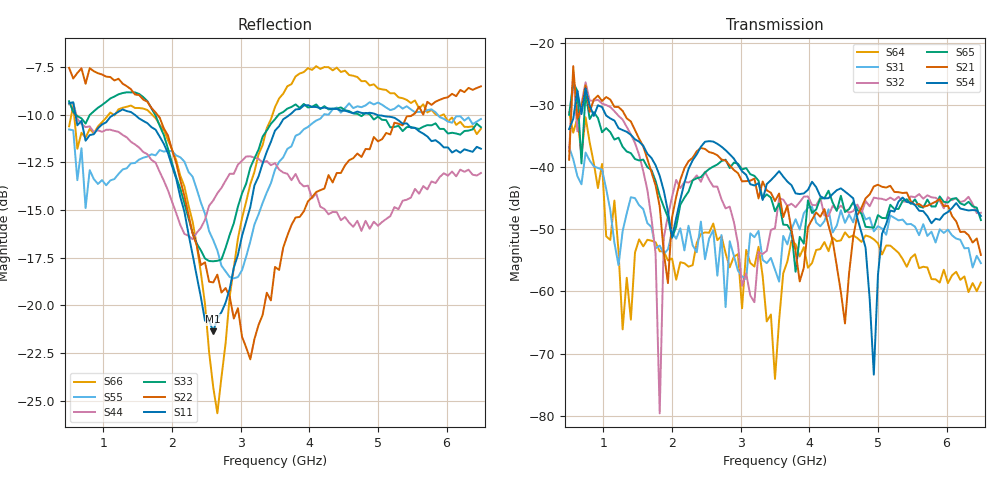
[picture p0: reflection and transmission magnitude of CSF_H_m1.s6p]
!Keysight Technologies,M9804A,MY58100912,A.14.10.03
!Date: Thursday, April 27, 2023 10:28:33
!Correction: S11(C  6-Port  )
!S12(C  6-Port  )
!S13(C  6-Port  )
!S14(C  6-Port  )
!S15(C  6-Port  )
!S16(C  6-Port  )
!S21(C  6-Port  )
!S22(C  6-Port  )
!S23(C  6-Port  )
!S24(C  6-Port  )
!S25(C  6-Port  )
!S26(C  6-Port  )
!S31(C  6-Port  )
!S32(C  6-Port  )
!S33(C  6-Port  )
!S34(C  6-Port  )
!S35(C  6-Port  )
!S36(C  6-Port  )
!S41(C  6-Port  )
!S42(C  6-Port  )
!S43(C  6-Port  )
!S44(C  6-Port  )
!S45(C  6-Port  )
!S46(C  6-Port  )
!S51(C  6-Port  )
!S52(C  6-Port  )
!S53(C  6-Port  )
!S54(C  6-Port  )
!S55(C  6-Port  )
!S56(C  6-Port  )
!S61(C  6-Port  )
!S62(C  6-Port  )
!S63(C  6-Port  )
!S64(C  6-Port  )
!S65(C  6-Port  )
!S66(C  6-Port  )
!S6P File: Measurement: :
# Hz S  RI  R 50
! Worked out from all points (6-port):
!   101 points, 500 MHz to 6.5 GHz, reference 50 ohm
!   strongest paths, dB at 500 MHz, 2 GHz, 3.5 GHz, 5 GHz, 6.5 GHz:
!     S54: -33.9, -51.3, -41.4, -57.4, -47.9
!     S21: -38.8, -48.1, -45.4, -42.8, -54.1
!     S65: -31.6, -51.4, -47.1, -47.7, -48.5
!     S32: -37.5, -44.8, -49.8, -45.0, -47.4
!     S31: -36.8, -50.5, -56.5, -49.5, -55.4
!     S64: -31.2, -54.7, -74.1, -52.3, -58.6
!   lowest |S11| = -21.4 dB at 2.6 GHz (marker M1), VSWR 1.19, Z = 42.4 + j2.28 ohm
!   |S11| at or under -10 dB: 592.9 MHz to 1.148 GHz (555.1 MHz wide, 63.8 % of centre); 1.46 GHz to 3.712 GHz (2.253 GHz wide, 87.1 % of centre); 4.987 GHz to end of sweep
